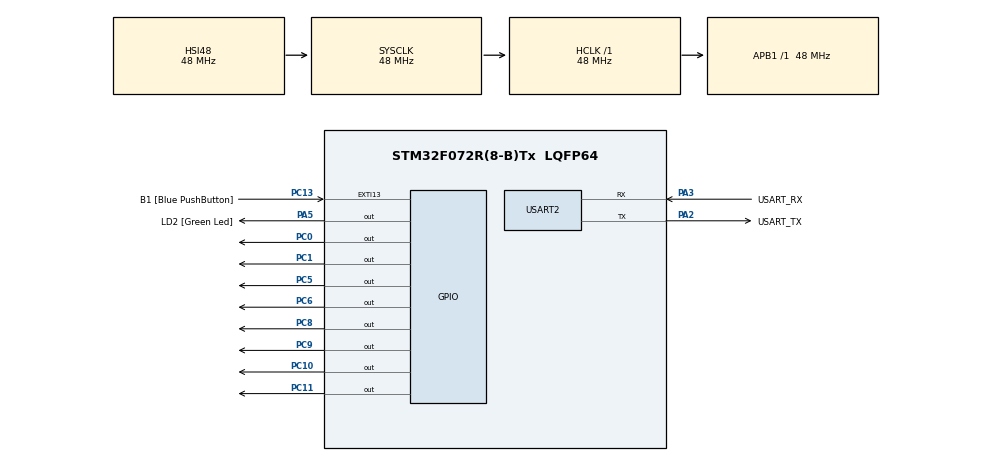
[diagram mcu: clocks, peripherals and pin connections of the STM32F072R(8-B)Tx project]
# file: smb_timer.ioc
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FREERTOS.Tasks01=defaultTask,24,128,StartDefaultTask,Default,NULL,Dynamic,NULL,NULL;uartTask,8,128,StartUartTask,Default,NULL,Dynamic,NULL,NULL;myBaseTask,8,128,StartBaseTask,Default,NULL,Dynamic,NULL,NULL
Mcu.Family=STM32F0
Mcu.Name=STM32F072R(8-B)Tx
Mcu.Package=LQFP64
NVIC.TIM16_IRQn=true\:0\:0\:false\:false\:true\:true\:true\:true
NVIC.TIM6_DAC_IRQn=true\:0\:0\:false\:false\:true\:false\:false\:true
NVIC.TimeBase=TIM6_DAC_IRQn
NVIC.TimeBaseIP=TIM6
PA13.GPIO_Label=TMS
PA13.Mode=Serial_Wire
PA13.Signal=SYS_SWDIO
PA14.GPIO_Label=TCK
PA14.Mode=Serial_Wire
PA14.Signal=SYS_SWCLK
PA2.GPIO_Label=USART_TX
PA2.GPIO_Mode=GPIO_MODE_AF_PP
PA2.GPIO_PuPd=GPIO_NOPULL
PA2.GPIO_Speed=GPIO_SPEED_FREQ_LOW
PA2.Mode=Asynchronous
PA2.Signal=USART2_TX
PA3.GPIO_Label=USART_RX
PA3.GPIO_Mode=GPIO_MODE_AF_PP
PA3.GPIO_PuPd=GPIO_NOPULL
PA3.GPIO_Speed=GPIO_SPEED_FREQ_LOW
PA3.Mode=Asynchronous
PA3.Signal=USART2_RX
PA5.GPIO_Label=LD2 [Green Led]
PA5.GPIO_Mode=GPIO_MODE_OUTPUT_PP
PA5.GPIO_PuPd=GPIO_NOPULL
PA5.GPIO_Speed=GPIO_SPEED_FREQ_LOW
PA5.Signal=GPIO_Output
PC0.Signal=GPIO_Output
PC1.Signal=GPIO_Output
PC10.Signal=GPIO_Output
PC11.Signal=GPIO_Output
PC13.GPIO_Label=B1 [Blue PushButton]
PC13.GPIO_ModeDefaultEXTI=GPIO_MODE_IT_FALLING
PC13.Signal=GPXTI13
PC14-OSC32_IN.Mode=LSE-External-Oscillator
PC14-OSC32_IN.Signal=RCC_OSC32_IN
PC15-OSC32_OUT.Mode=LSE-External-Oscillator
PC15-OSC32_OUT.Signal=RCC_OSC32_OUT
PC5.Signal=GPIO_Output
PC6.Signal=GPIO_Output
PC8.Signal=GPIO_Output
PC9.Signal=GPIO_Output
PF0-OSC_IN.Mode=HSE-External-Clock-Source
PF0-OSC_IN.Signal=RCC_OSC_IN
PF1-OSC_OUT.Signal=RCC_OSC_OUT
ProjectManager.HeapSize=0x200
ProjectManager.StackSize=0x400
ProjectManager.TargetToolchain=STM32CubeIDE
RCC.AHBFreq_Value=48000000
RCC.APB1Freq_Value=48000000
RCC.APB1TimFreq_Value=48000000
RCC.FLatency-AdvancedSettings=FLASH_LATENCY_1
RCC.HCLKFreq_Value=48000000
RCC.PLLDivider=RCC_PREDIV_DIV2
RCC.PLLMUL=RCC_PLL_MUL12
RCC.PREFETCH_ENABLE-AdvancedSettings=1
RCC.SYSCLKFreq_VALUE=48000000
RCC.SYSCLKSource=RCC_SYSCLKSOURCE_HSI48
TIM16.AutoReloadPreload=TIM_AUTORELOAD_PRELOAD_DISABLE
TIM16.Period=20
TIM16.Prescaler=24
USART2.VirtualMode=VM_ASYNC
USART2.VirtualMode-Asynchronous=VM_ASYNC
VP_FREERTOS_VS_CMSIS_V2.Mode=CMSIS_V2
VP_SYS_VS_tim6.Mode=TIM6
VP_TIM16_VS_ClockSourceINT.Mode=Enable_Timer
board=NUCLEO-F072RB

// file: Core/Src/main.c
/* USER CODE BEGIN Header */
/**
  ******************************************************************************
  * @file           : main.c
  * @brief          : Main program body
  ******************************************************************************
  * @attention
  *
  * <h2><center>&copy; Copyright (c) 2020 STMicroelectronics.
  * All rights reserved.</center></h2>
  *
  * This software component is licensed by ST under BSD 3-Clause license,
  * the "License"; You may not use this file except in compliance with the
  * License. You may obtain a copy of the License at:
  *                        opensource.org/licenses/BSD-3-Clause
  *
  ******************************************************************************
  */
/* USER CODE END Header */
#include "main.h"
#include "cmsis_os.h"
#include <string.h>
#include <stdio.h>
#include <stdlib.h>

TIM_HandleTypeDef htim16;

UART_HandleTypeDef huart2;

/* Definitions for defaultTask */
osThreadId_t defaultTaskHandle;
const osThreadAttr_t defaultTask_attributes = {
  .name = "defaultTask",
  .priority = (osPriority_t) osPriorityNormal,
  .stack_size = 128 * 4
};
/* Definitions for uartTask */
osThreadId_t uartTaskHandle;
const osThreadAttr_t uartTask_attributes = {
  .name = "uartTask",
  .priority = (osPriority_t) osPriorityLow,
  .stack_size = 128 * 4
};
/* Definitions for myBaseTask */
osThreadId_t myBaseTaskHandle;
const osThreadAttr_t myBaseTask_attributes = {
  .name = "myBaseTask",
  .priority = (osPriority_t) osPriorityLow,
  .stack_size = 128 * 4
};

void SystemClock_Config(void);
static void MX_GPIO_Init(void);
static void MX_USART2_UART_Init(void);
static void MX_TIM16_Init(void);
void StartDefaultTask(void *argument);
void StartUartTask(void *argument);
void StartBaseTask(void *argument);

int main(void)
{

  /* MCU Configuration--------------------------------------------------------*/

  /* Reset of all peripherals, Initializes the Flash interface and the Systick. */
  HAL_Init();

  /* Configure the system clock */
  SystemClock_Config();

  /* Initialize all configured peripherals */
  MX_GPIO_Init();
  MX_USART2_UART_Init();
  MX_TIM16_Init();

  /* Init scheduler */
  osKernelInitialize();

  /* USER CODE BEGIN RTOS_TIMERS */
  /* start timers, add new ones, ... */
  HAL_TIM_Base_Start_IT(&htim16);

  /* USER CODE END RTOS_TIMERS */

  /* Create the thread(s) */
  /* creation of defaultTask */
  defaultTaskHandle = osThreadNew(StartDefaultTask, NULL, &defaultTask_attributes);

  /* creation of uartTask */
  uartTaskHandle = osThreadNew(StartUartTask, NULL, &uartTask_attributes);

  /* creation of myBaseTask */
  myBaseTaskHandle = osThreadNew(StartBaseTask, NULL, &myBaseTask_attributes);

  /* Start scheduler */
  osKernelStart();

  /* We should never get here as control is now taken by the scheduler */
  /* Infinite loop */
  while (1)
  {

  }
}

void SystemClock_Config(void)
{
  RCC_OscInitTypeDef RCC_OscInitStruct = {0};
  RCC_ClkInitTypeDef RCC_ClkInitStruct = {0};
  RCC_PeriphCLKInitTypeDef PeriphClkInit = {0};

  /** Initializes the RCC Oscillators according to the specified parameters
  * in the RCC_OscInitTypeDef structure.
  */
  RCC_OscInitStruct.OscillatorType = RCC_OSCILLATORTYPE_HSI48;
  RCC_OscInitStruct.HSI48State = RCC_HSI48_ON;
  RCC_OscInitStruct.PLL.PLLState = RCC_PLL_NONE;
  if (HAL_RCC_OscConfig(&RCC_OscInitStruct) != HAL_OK)
  {
    Error_Handler();
  }
  /** Initializes the CPU, AHB and APB buses clocks
  */
  RCC_ClkInitStruct.ClockType = RCC_CLOCKTYPE_HCLK|RCC_CLOCKTYPE_SYSCLK
                              |RCC_CLOCKTYPE_PCLK1;
  RCC_ClkInitStruct.SYSCLKSource = RCC_SYSCLKSOURCE_HSI48;
  RCC_ClkInitStruct.AHBCLKDivider = RCC_SYSCLK_DIV1;
  RCC_ClkInitStruct.APB1CLKDivider = RCC_HCLK_DIV1;

  if (HAL_RCC_ClockConfig(&RCC_ClkInitStruct, FLASH_LATENCY_1) != HAL_OK)
  {
    Error_Handler();
  }
  PeriphClkInit.PeriphClockSelection = RCC_PERIPHCLK_USART2;
  PeriphClkInit.Usart2ClockSelection = RCC_USART2CLKSOURCE_PCLK1;
  if (HAL_RCCEx_PeriphCLKConfig(&PeriphClkInit) != HAL_OK)
  {
    Error_Handler();
  }
}

static void MX_TIM16_Init(void)
{

  htim16.Instance = TIM16;
  htim16.Init.Prescaler = 24;
  htim16.Init.CounterMode = TIM_COUNTERMODE_UP;
  htim16.Init.Period = 20;
  htim16.Init.ClockDivision = TIM_CLOCKDIVISION_DIV1;
  htim16.Init.RepetitionCounter = 0;
  htim16.Init.AutoReloadPreload = TIM_AUTORELOAD_PRELOAD_DISABLE;
  if (HAL_TIM_Base_Init(&htim16) != HAL_OK)
  {
    Error_Handler();
  }

}

static void MX_USART2_UART_Init(void)
{

  huart2.Instance = USART2;
  huart2.Init.BaudRate = 38400;
  huart2.Init.WordLength = UART_WORDLENGTH_8B;
  huart2.Init.StopBits = UART_STOPBITS_1;
  huart2.Init.Parity = UART_PARITY_NONE;
  huart2.Init.Mode = UART_MODE_TX_RX;
  huart2.Init.HwFlowCtl = UART_HWCONTROL_NONE;
  huart2.Init.OverSampling = UART_OVERSAMPLING_16;
  huart2.Init.OneBitSampling = UART_ONE_BIT_SAMPLE_DISABLE;
  huart2.AdvancedInit.AdvFeatureInit = UART_ADVFEATURE_NO_INIT;
  if (HAL_UART_Init(&huart2) != HAL_OK)
  {
    Error_Handler();
  }

}

static void MX_GPIO_Init(void)
{
  GPIO_InitTypeDef GPIO_InitStruct = {0};

  /* GPIO Ports Clock Enable */
  __HAL_RCC_GPIOC_CLK_ENABLE();
  __HAL_RCC_GPIOF_CLK_ENABLE();
  __HAL_RCC_GPIOA_CLK_ENABLE();

  /*Configure GPIO pin Output Level */
  HAL_GPIO_WritePin(GPIOC, GPIO_PIN_0|GPIO_PIN_1|GPIO_PIN_5|GPIO_PIN_6
                          |GPIO_PIN_8|GPIO_PIN_9|GPIO_PIN_10|GPIO_PIN_11, GPIO_PIN_RESET);

  /*Configure GPIO pin Output Level */
  HAL_GPIO_WritePin(LD2_GPIO_Port, LD2_Pin, GPIO_PIN_RESET);

  /*Configure GPIO pin : B1_Pin */
  GPIO_InitStruct.Pin = B1_Pin;
  GPIO_InitStruct.Mode = GPIO_MODE_IT_FALLING;
  GPIO_InitStruct.Pull = GPIO_NOPULL;
  HAL_GPIO_Init(B1_GPIO_Port, &GPIO_InitStruct);

  /*Configure GPIO pins : PC0 PC1 PC5 PC6
                           PC8 PC9 PC10 PC11 */
  GPIO_InitStruct.Pin = GPIO_PIN_0|GPIO_PIN_1|GPIO_PIN_5|GPIO_PIN_6
                          |GPIO_PIN_8|GPIO_PIN_9|GPIO_PIN_10|GPIO_PIN_11;
  GPIO_InitStruct.Mode = GPIO_MODE_OUTPUT_PP;
  GPIO_InitStruct.Pull = GPIO_NOPULL;
  GPIO_InitStruct.Speed = GPIO_SPEED_FREQ_LOW;
  HAL_GPIO_Init(GPIOC, &GPIO_InitStruct);

  /*Configure GPIO pin : LD2_Pin */
  GPIO_InitStruct.Pin = LD2_Pin;
  GPIO_InitStruct.Mode = GPIO_MODE_OUTPUT_PP;
  GPIO_InitStruct.Pull = GPIO_NOPULL;
  GPIO_InitStruct.Speed = GPIO_SPEED_FREQ_LOW;
  HAL_GPIO_Init(LD2_GPIO_Port, &GPIO_InitStruct);

}

/* USER CODE BEGIN 4 */
static int led = 1000;
static int frequency = 50;
static int hz = 1;
static int voltage = 110;
static int phase = 0;
static unsigned short pin_state = 0;
static char temp[100];
static char test[5];

/* USER CODE END 4 */

void StartDefaultTask(void *argument)
{
  for(;;)
  {
    osDelay(1);
  }
}

void StartUartTask(void *argument)
{
  /* USER CODE BEGIN StartUartTask */
  /* Infinite loop */
  int in;

  for(;;)
  {
	    HAL_UART_Receive(&huart2, (uint8_t *)test, 5, HAL_MAX_DELAY);
		sprintf(temp, "%c%c%c%c%c!\r\n", test[0],test[1],test[2],test[3],test[4]);
		HAL_UART_Transmit(&huart2, (uint8_t *)temp, strlen(temp), HAL_MAX_DELAY);
		in=atoi(&test[1]);

	    switch(test[0]) {
		case 'F':
			frequency = in;
			led = 5000.0/(in-40);
			hz = frequency%4 +1;
			sprintf(temp, "F:%d, HZ: %d, LED:%d mS\r\n", frequency, hz, led);
			break;
		case 'V':
			voltage = in;
			sprintf(temp, "V:%d\r\n", voltage);
			break;
		case 'P':
			phase = in;
			sprintf(temp, "P:%d\r\n", phase);
			break;
		case 'M':
			phase = -in;
			sprintf(temp, "M:%d\r\n", phase);
			break;
		default:
			sprintf(temp, "D:wrong!\r\n");
			break;
		}
		HAL_UART_Transmit(&huart2, (uint8_t *)temp, strlen(temp), HAL_MAX_DELAY);
  }
  /* USER CODE END StartUartTask */
}

void StartBaseTask(void *argument)
{
  /* USER CODE BEGIN StartBaseTask */
  /* Infinite loop */
  for(;;)
  {
	  pin_state = !pin_state;
	  HAL_GPIO_WritePin(LD2_GPIO_Port, LD2_Pin, pin_state);
	  osDelay(led);
	  pin_state = !pin_state;
	  HAL_GPIO_WritePin(LD2_GPIO_Port, LD2_Pin, pin_state);
	  osDelay(led);
  }
  /* USER CODE END StartBaseTask */
}

void HAL_TIM_PeriodElapsedCallback(TIM_HandleTypeDef *htim)
{
  /* USER CODE BEGIN Callback 0 */
  static int tim16_step = 0;
  static int tim16_led = 0;
  static int tim16_counter  = 0;
  static int tim16_edge[18] =   {   80,   80,  100,  160,  160,  160,  100,   80,   80,
		  	  	  	  	  	  	    80,   80,  100,  160,  160,  160,  100,   80,   80 };
#define PWM11  GPIO_PIN_0
#define PWM21  GPIO_PIN_1
#define PWM31  GPIO_PIN_10
#define PWM41  GPIO_PIN_11
#define PWM12  GPIO_PIN_9
#define PWM22  GPIO_PIN_5
#define PWM32  GPIO_PIN_6
#define PWM42  GPIO_PIN_8

#define PWM_POSITIVE  (PWM11|PWM21|PWM31|PWM41)
#define PWM_NEGATIVE  (PWM12|PWM22|PWM32|PWM42)

  static int tim16_output[18][2] = {
		  { PWM11,  PWM21|PWM31|PWM41|PWM_NEGATIVE},
		  { PWM11|PWM21,  PWM31|PWM41|PWM_NEGATIVE},
		  { PWM11|PWM21|PWM31,  PWM41|PWM_NEGATIVE},
		  { PWM11|PWM21|PWM31|PWM41,  PWM_NEGATIVE},
		  { PWM11|PWM21|PWM31,  PWM41|PWM_NEGATIVE},
		  { PWM11|PWM21,  PWM31|PWM41|PWM_NEGATIVE},
		  { PWM11,  PWM21|PWM31|PWM41|PWM_NEGATIVE},
		  { 0, PWM_POSITIVE|PWM_NEGATIVE},
		  { 0, PWM_POSITIVE|PWM_NEGATIVE},
		  { PWM12,  PWM22|PWM32|PWM42|PWM_POSITIVE},
		  { PWM12|PWM22,  PWM32|PWM42|PWM_POSITIVE},
		  { PWM12|PWM22|PWM32,  PWM42|PWM_POSITIVE},
		  { PWM12|PWM22|PWM32|PWM42,  PWM_POSITIVE},
		  { PWM12|PWM22|PWM32,  PWM42|PWM_POSITIVE},
		  { PWM12|PWM22,  PWM32|PWM42|PWM_POSITIVE},
		  { PWM12,  PWM22|PWM32|PWM42|PWM_POSITIVE},
		  { 0,PWM_POSITIVE|PWM_NEGATIVE},
		  { 0,PWM_POSITIVE|PWM_NEGATIVE}
  };

  /* USER CODE END Callback 0 */
  if (htim->Instance == TIM6) {
    HAL_IncTick();
  }
  /* USER CODE BEGIN Callback 1 */
  if (htim == &htim16)
  {
	tim16_counter++;
	if (tim16_counter >= (tim16_edge[tim16_step]/hz))
	{
	  tim16_counter  = 0;

	  if (tim16_output[tim16_step][0]) HAL_GPIO_WritePin(GPIOC,tim16_output[tim16_step][0],GPIO_PIN_SET);
	  HAL_GPIO_WritePin(GPIOC,tim16_output[tim16_step][1],GPIO_PIN_RESET);

	  tim16_step ++;
	  if (tim16_step >= 18)
	  {
		  tim16_step = 0;
		  tim16_led ++;
	      if (tim16_led > 50)
	      {
	    	  tim16_led = 0;
		      // HAL_GPIO_TogglePin(GPIOA,GPIO_PIN_5);
	      }
	  }
	}
  }
  /* USER CODE END Callback 1 */
}

void Error_Handler(void)
{
}

/************************ (C) COPYRIGHT STMicroelectronics *****END OF FILE****/
